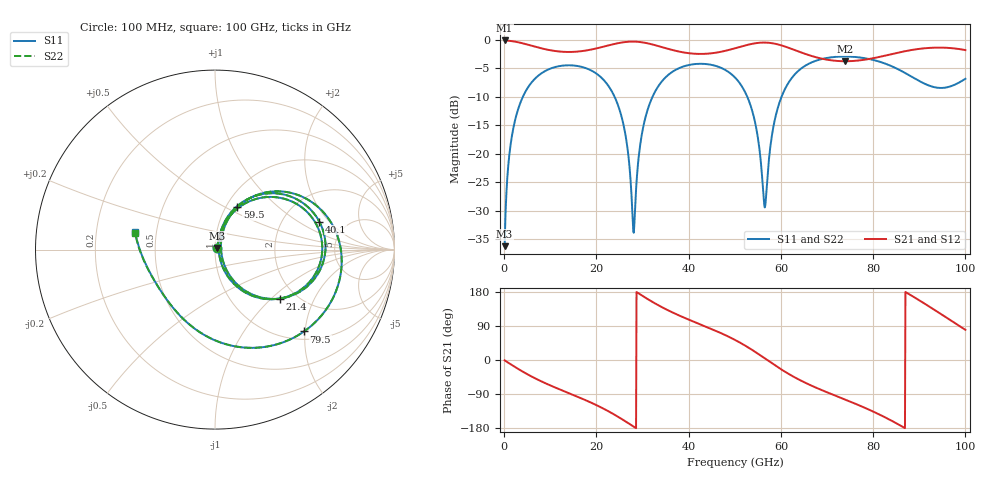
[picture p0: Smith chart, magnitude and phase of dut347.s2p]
! Touchstone file exported from HFSS 2026.1.0
!  File:  C:/ffzhzh/LocalFiles/Ansys_Project_Files/temp_train_TSV_RDL_347_1783707606_45496.aedt
!  Generated:  02:26:20 AM Jul 11, 2026
!  Design:  TSV_RDL
!  Project:  temp_train_TSV_RDL_347_1783707606_45496
! Variables:
!  h_bsmrdl = 3.16um
!  h_ox = 20um
!  h_rdl = 5um
!  h_sub = 57.76um
!  h_tmrdl = 3.16um
!  h_tsv = 57.76um
!  h_via = 3um
!  l_bsmrdl = 357.52um
!  l_sub = 2120.57um
!  l_tmrdl = 137.38um
!  m_sub = 200um
!  pitch = 59.85um
!  r_tsv = 14.53um
!  s_tmrdl = 10um
!  w_bsmrdl = 15.12um
!  w_sub = 500um
!  w_tmrdl = 17.71um
!  x_tsv_center1 = 146.235um
!  x_tsv_center2 = 518.875um
!  x_tsv_center3 = 673.965um
!  x_tsv_center4 = 1046.605um
!  x_tsv_center5 = 1201.695um
!  x_tsv_center6 = 1574.335um
# GHz S MA R 50.000000
! Terminal data exported
! Port[1] = TM_RDL1_1_T1
! Port[2] = TM_RDL5_1_T1
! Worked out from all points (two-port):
!   1000 points, 100 MHz to 100 GHz, reference 50 ohm
!   highest |S21| = -0.11 dB at 100 MHz (marker M1); lowest = -3.8 dB at 74 GHz (marker M2)
!   |S21| within 3 dB of the highest: start of sweep to 67.85 GHz; 80.73 GHz to end of sweep
!   lowest |S11| = -36.2 dB at 100 MHz (marker M3), VSWR 1.03, Z = 51.3 + j0.918 ohm
!   |S11| at or under -10 dB: start of sweep to 4.057 GHz; 23.94 GHz to 32.16 GHz (8.218 GHz wide, 29.3 % of centre); 52.71 GHz to 60.14 GHz (7.423 GHz wide, 13.2 % of centre)
!   |S22| runs from -36.2 to -2.9 dB; largest |S21 - S12| = 4.9e-14
!   S11 on the Smith chart (normalised r, x): 100 MHz: 1.03, +0.02; 21.4 GHz: 1.65, -1.13; 40.1 GHz: 3.20, +1.56; 59.5 GHz: 1.13, +0.57; 79.5 GHz: 1.18, -1.97; 100 GHz: 0.38, +0.09
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0.1  0.01547 35.3  0.9875 -0.8  0.9875 -0.8  0.01547 35.3
! Gamma 0 0 0 0
! Port Impedance 50 0 50 0
1.5  0.1285 71.2  0.9763 -11.9  0.9763 -11.9  0.1285 71.2
4.2  0.3254 55.0  0.9281 -31.9  0.9281 -31.9  0.3254 55.0
10.8  0.573 17.1  0.8004 -71.2  0.8004 -71.2  0.573 17.1
16.8  0.5792 -12.3  0.7956 -101.5  0.7956 -101.5  0.5791 -12.3
21.4  0.4523 -37.1  0.8682 -127.5  0.8682 -127.5  0.4523 -37.0
25.7  0.1932 -62.9  0.9501 -157.3  0.9501 -157.3  0.1933 -62.7
28.1  0.0203 10.0  0.9648 -176.0  0.9648 -176.0  0.02103 9.9
30.1  0.1677 70.7  0.9486 168.4  0.9486 168.4  0.1679 70.4
33.4  0.3906 51.4  0.8822 144.7  0.8822 144.7  0.3907 51.2
40.1  0.6019 15.0  0.7627 106.2  0.7627 106.2  0.6019 14.9
50.1  0.4649 -35.5  0.8442 52.7  0.8442 52.7  0.4649 -35.6
54.1  0.2132 -58.4  0.9281 24.0  0.9281 24.0  0.2131 -58.6
56.5  0.03383 2.2  0.9463 4.4  0.9463 4.4  0.03315 2.3
59.5  0.2666 62.0  0.9083 -20.3  0.9083 -20.3  0.2665 62.1
66.7  0.6347 19.9  0.7206 -68.1  0.7206 -68.1  0.6348 19.9
74  0.7139 -15.2  0.6489 -104.8  0.6489 -104.8  0.714 -15.2
79.5  0.6738 -42.6  0.6835 -133.2  0.6835 -133.2  0.6739 -42.5
83.4  0.6012 -65.1  0.7392 -156.4  0.7392 -156.4  0.6014 -64.9
91  0.4152 -118.5  0.842 149.9  0.842 149.9  0.4156 -118.1
95.7  0.3811 -156.8  0.8523 113.4  0.8523 113.4  0.3814 -156.3
100  0.4551 167.6  0.8124 79.6  0.8124 79.6  0.4553 168.1
